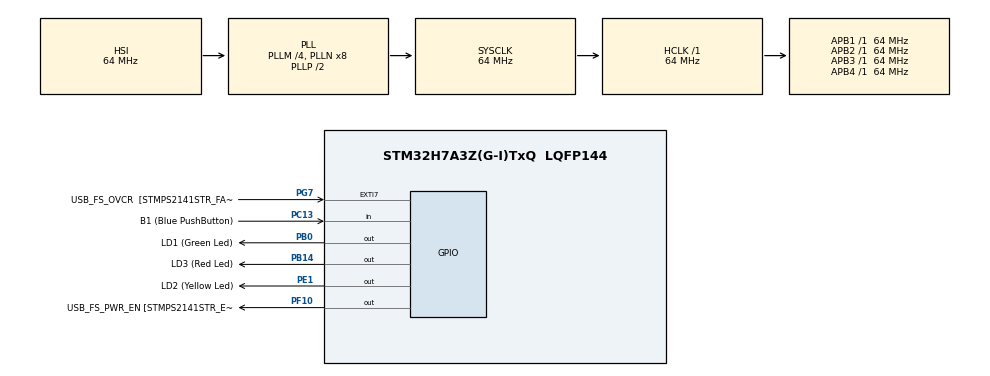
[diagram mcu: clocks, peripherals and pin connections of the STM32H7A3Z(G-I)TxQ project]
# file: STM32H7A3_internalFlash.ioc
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Mcu.Family=STM32H7
Mcu.Name=STM32H7A3Z(G-I)TxQ
Mcu.Package=LQFP144
NVIC.PriorityGroup=NVIC_PRIORITYGROUP_4
PA10.GPIO_Label=USB_FS_ID [ZX62RD-AB-5P8_ID]
PA10.Signal=USB_OTG_HS_ID
PA11.GPIO_Label=USB_FS_N [USBLC6-2SC6_IO_1]
PA11.Signal=USB_OTG_HS_DM
PA12.GPIO_Label=USB_FS_P [USBLC6-2SC6_IO_2]
PA12.Signal=USB_OTG_HS_DP
PA9.GPIO_Label=USB_FS_VBUS  [ZX62RD-AB-5P8_VBUS]
PA9.Signal=USB_OTG_HS_VBUS
PB0.GPIO_Label=LD1 (Green Led)
PB0.Signal=GPIO_Output
PB14.GPIO_Label=LD3 (Red Led)
PB14.Signal=GPIO_Output
PC13.GPIO_Label=B1 (Blue PushButton)
PC13.Signal=GPIO_Input
PC14-OSC32_IN.GPIO_Label=OSC32_IN
PC14-OSC32_IN.Signal=RCC_OSC32_IN
PC15-OSC32_OUT.GPIO_Label=OSC32_OUT
PC15-OSC32_OUT.Signal=RCC_OSC32_OUT
PD8.GPIO_Label=STLINK_RX
PD8.Signal=USART3_TX
PD9.GPIO_Label=STLINK_TX
PD9.Signal=USART3_RX
PE1.GPIO_Label=LD2 (Yellow Led)
PE1.Signal=GPIO_Output
PF10.GPIO_Label=USB_FS_PWR_EN [STMPS2141STR_EN]
PF10.Signal=GPIO_Output
PG7.GPIO_Label=USB_FS_OVCR  [STMPS2141STR_FAULT]
PG7.Signal=GPXTI7
PH0-OSC_IN.GPIO_Label=PH0-MCU
PH0-OSC_IN.Mode=HSE-External-Oscillator
PH0-OSC_IN.Signal=RCC_OSC_IN
PH1-OSC_OUT.GPIO_Label=PH1-MCU
PH1-OSC_OUT.Mode=HSE-External-Oscillator
PH1-OSC_OUT.Signal=RCC_OSC_OUT
ProjectManager.HeapSize=0x200
ProjectManager.StackSize=0x400
ProjectManager.TargetToolchain=STM32CubeIDE
RCC.ADCFreq_Value=129000000
RCC.APB1Freq_Value=64000000
RCC.APB2Freq_Value=64000000
RCC.APB3Freq_Value=64000000
RCC.APB4Freq_Value=64000000
RCC.CortexFreq_Value=64000000
RCC.DIVM1=4
RCC.DIVM3=1
RCC.DIVN1=8
RCC.DIVN3=24
RCC.DIVQ1=4
RCC.HCLKFreq_Value=64000000
RCC.HSE_VALUE=8000000
RCC.PLLFRACN=0
RCC.PWR_Regulator_Voltage_Scale=PWR_REGULATOR_VOLTAGE_SCALE0
RCC.SYSCLKFreq_VALUE=64000000
RCC.SYSCLKSource=RCC_SYSCLKSOURCE_PLLCLK
RCC.SupplySource=PWR_DIRECT_SMPS_SUPPLY
RCC.USBCLockSelection=RCC_USBCLKSOURCE_HSI48
RCC.USBFreq_Value=48000000
board=NUCLEO-H7A3ZI-Q

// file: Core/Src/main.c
/* USER CODE BEGIN Header */
/**
  ******************************************************************************
  * @file           : main.c
  * @brief          : Main program body
  ******************************************************************************
  * @attention
  *
  * Copyright (c) 2023 STMicroelectronics.
  * All rights reserved.
  *
  * This software is licensed under terms that can be found in the LICENSE file
  * in the root directory of this software component.
  * If no LICENSE file comes with this software, it is provided AS-IS.
  *
  ******************************************************************************
  */
/* USER CODE END Header */
#include "main.h"

/* USER CODE BEGIN Includes */
#include "stm32h7xx_hal_flash.h"
#include "string.h"

/* USER CODE END Includes */

void SystemClock_Config(void);
static void MX_GPIO_Init(void);

/* USER CODE BEGIN 0 */
static uint32_t GetSector(uint32_t Address)
{
	return (Address >> 13 ) & (0x7F);
}

void internalFlashReadData(uint32_t StartSectorAddress, uint32_t *RxBuf, uint16_t numberofwords)
{
	while (1)
	{

		*RxBuf = *(__IO uint32_t *)StartSectorAddress;
		StartSectorAddress += 4;
		RxBuf++;
		if (!(numberofwords--)) break;
	}
}

uint32_t internalFlashErase(uint32_t StartSectorAddress)
{
	static FLASH_EraseInitTypeDef EraseInitStruct;
	uint32_t SECTORError;

	  /* Unlock the Flash to enable the flash control register access *************/
	  HAL_FLASH_Unlock();

	  /* Erase the user Flash area */

	  /* Get the number of sector to erase from 1st sector */

	  uint32_t Sector = GetSector(StartSectorAddress);

	  /* Fill EraseInit structure*/
	  EraseInitStruct.TypeErase     = FLASH_TYPEERASE_SECTORS;
//	  EraseInitStruct.VoltageRange  = 3;
	  EraseInitStruct.Banks =  1;  //change this instruction if the bank is different
	  EraseInitStruct.Sector        = Sector;
	  EraseInitStruct.NbSectors     = 1;

	  if (HAL_FLASHEx_Erase(&EraseInitStruct, &SECTORError) != HAL_OK)
	  	  {
	  		  return HAL_FLASH_GetError ();
	  	  }

	  /* Lock the Flash to disable the flash control register access (recommended
	     to protect the FLASH memory against possible unwanted operation) *********/
	  HAL_FLASH_Lock();

	  return 0;
}

uint32_t internalFlashstartEndSectorEraseWrite(uint32_t BaseAddress, uint32_t *tempBuffer)
{
	int sofar=0;

	//Erase the start Sector
	internalFlashErase(BaseAddress);

	/* Unlock the Flash to enable the flash control register access *************/
	HAL_FLASH_Unlock();

	//Start sector write
	while (sofar<2048+4)
	  	 {
	  	   if (HAL_FLASH_Program(FLASH_TYPEPROGRAM_FLASHWORD, BaseAddress, tempBuffer) == HAL_OK)
	  	   {
	  	      BaseAddress += 16;
	  	      sofar += 4;
	  	      tempBuffer += 4;
	  	   }
	  	   else
	  	   {
	  	      /* Error occurred while writing data in Flash memory*/
	  	      return HAL_FLASH_GetError ();
	  	   }
	  	 }
	  /* Lock the Flash to disable the flash control register access (recommended
	     to protect the FLASH memory against possible unwanted operation) *********/
	  	 HAL_FLASH_Lock();

	return 0;
}

uint32_t internalFlashWriteData(uint32_t StartSectorAddress, uint32_t *Data,uint32_t dataBufferSize)
{

	 /* Unlock the Flash to enable the flash control register access *************/
	  HAL_FLASH_Unlock();

	  /* Get the sector detail */

	  uint32_t StartSector = GetSector(StartSectorAddress);
	  uint32_t EndSectorAddress = StartSectorAddress + dataBufferSize;
	  uint32_t EndSector = GetSector(EndSectorAddress);
	  uint32_t startSectorBaseAddress =  0x08000000/*It is base address of a bank 1*/ + (StartSector * 0x2000);
	  uint32_t startSectorEndAddress = startSectorBaseAddress + 0x1FFF/*It is size of sector*/;
	  uint32_t nextSectorBaseAddress=startSectorBaseAddress+0x2000; //It is a address of sector next to start sector
	  uint8_t noOfTimes = (EndSector-StartSector)+1; //It is used to count how much sector will be modified
	  uint8_t start=StartSector;//It is used to track the sector in which operation takes place
	  int sofar;
	  uint32_t tempBuffer[2048]={0x00};
	  while(noOfTimes > 0)
	  {
		  if(start==StartSector || start==EndSector)
		  	  {
		  		  if(start==StartSector)
		  		  {
		  			  //read the start sector data to temp buffer
		  			  internalFlashReadData(startSectorBaseAddress, tempBuffer, 2048);

		  			  //update a temp buffer
		  			  memcpy(&tempBuffer[(StartSectorAddress-startSectorBaseAddress)/4], Data, ((startSectorEndAddress-StartSectorAddress) > dataBufferSize) ? dataBufferSize : (startSectorEndAddress-StartSectorAddress));

		  			  //erase and write
		  			  internalFlashstartEndSectorEraseWrite(startSectorBaseAddress, tempBuffer);
		  		  }
		  		  else
		  		  {
		  			  uint32_t endSectorBaseAddress =  0x08000000/*It is base address of a bank 1*/ + (EndSector * 0x2000);

		  			  //read the end sector data to temp buffer
		  			  internalFlashReadData(endSectorBaseAddress, tempBuffer, 2048);

		  			  endSectorBaseAddress =  0x08000000/*It is base address of a bank 1*/ + (EndSector * 0x2000);

		  			  //update a temp buffer
		  			  memcpy(tempBuffer, Data + ((endSectorBaseAddress-StartSectorAddress)/4), (EndSectorAddress-endSectorBaseAddress));

		  			  //erase and write
		  			  internalFlashstartEndSectorEraseWrite(endSectorBaseAddress, tempBuffer);
		  		  }
		  		noOfTimes--;
		  		start++;
		  	  }
		  	  else
		  	  {
		  		sofar=0;
		  		//erase the sector
		  		internalFlashErase(nextSectorBaseAddress);

		  		Data += (startSectorEndAddress-StartSectorAddress)/4;

		  		/* Unlock the Flash to enable the flash control register access *************/
		  		HAL_FLASH_Unlock();

		  		//write a sector
		  		while (sofar<(((EndSector-StartSector)-1)*2048)+4)
		  			  	 {
		  			  	   if (HAL_FLASH_Program(FLASH_TYPEPROGRAM_FLASHWORD, nextSectorBaseAddress, Data) == HAL_OK)
		  			  	   {
		  			  		  nextSectorBaseAddress += 16;
		  			  	      sofar += 4;
		  			  	      Data += 4;
		  			  	   }
		  			  	   else
		  			  	   {
		  			  	      /* Error occurred while writing data in Flash memory*/
		  			  	      return HAL_FLASH_GetError ();
		  			  	   }
		  			  	 }
				  /* Lock the Flash to disable the flash control register access (recommended
				     to protect the FLASH memory against possible unwanted operation) *********/
				  	 HAL_FLASH_Lock();

		  		noOfTimes -=((EndSector-StartSector)-1);
		  		start +=((EndSector-StartSector)-1);
		  		}
	  }

	  /* Lock the Flash to disable the flash control register access (recommended
	     to protect the FLASH memory against possible unwanted operation) *********/
	  HAL_FLASH_Lock();

	   return 0;
}

/* USER CODE END 0 */

int main(void)
{

  /* MCU Configuration--------------------------------------------------------*/

  /* Reset of all peripherals, Initializes the Flash interface and the Systick. */
  HAL_Init();

  /* Configure the system clock */
  SystemClock_Config();

  /* Initialize all configured peripherals */
  MX_GPIO_Init();
  /* USER CODE BEGIN 2 */

  const int arraySizeBytes = 8 * 1024;
  uint8_t myArray[8 * 1024];

  // Initialize the array with consecutive values
  for (int i = 0; i < arraySizeBytes; i++) {
      myArray[i] = (i % 256) + 1;
  }

  uint8_t Rx_Data[512];

  /*
   internalFlashWriteData() function takes 3 parameters:
   para1- Address to be passed of flash memory where you want to write/update the data
   para2- Buffer address to be passed which is to be written on a flash memory
   para3- size of buffer passed in para2
   */
  internalFlashWriteData(0x8020010 , (uint32_t *)myArray,8192);
  /*
     internalFlashReadData() function takes 3 parameters:
     para1- Address to be passed of flash memory where you want to read the data
     para2- Buffer address to be passed which is to be read data from a flash memory and stores it on a passed buffer
     para3- no of words to be read
     */
  internalFlashReadData(0x80FE000 , (uint32_t *)Rx_Data, 128);
  /* USER CODE END 2 */

  /* Infinite loop */
  while (1)
  {

  }
}

void SystemClock_Config(void)
{
  RCC_OscInitTypeDef RCC_OscInitStruct = {0};
  RCC_ClkInitTypeDef RCC_ClkInitStruct = {0};

  /*AXI clock gating */
  RCC->CKGAENR = 0xFFFFFFFF;

  /** Supply configuration update enable
  */
  HAL_PWREx_ConfigSupply(PWR_DIRECT_SMPS_SUPPLY);

  /** Configure the main internal regulator output voltage
  */
  __HAL_PWR_VOLTAGESCALING_CONFIG(PWR_REGULATOR_VOLTAGE_SCALE0);

  while(!__HAL_PWR_GET_FLAG(PWR_FLAG_VOSRDY)) {}

  /** Initializes the RCC Oscillators according to the specified parameters
  * in the RCC_OscInitTypeDef structure.
  */
  RCC_OscInitStruct.OscillatorType = RCC_OSCILLATORTYPE_HSI;
  RCC_OscInitStruct.HSIState = RCC_HSI_DIV1;
  RCC_OscInitStruct.HSICalibrationValue = 64;
  RCC_OscInitStruct.PLL.PLLState = RCC_PLL_ON;
  RCC_OscInitStruct.PLL.PLLSource = RCC_PLLSOURCE_HSI;
  RCC_OscInitStruct.PLL.PLLM = 4;
  RCC_OscInitStruct.PLL.PLLN = 8;
  RCC_OscInitStruct.PLL.PLLP = 2;
  RCC_OscInitStruct.PLL.PLLQ = 4;
  RCC_OscInitStruct.PLL.PLLR = 2;
  RCC_OscInitStruct.PLL.PLLRGE = RCC_PLL1VCIRANGE_3;
  RCC_OscInitStruct.PLL.PLLVCOSEL = RCC_PLL1VCOWIDE;
  RCC_OscInitStruct.PLL.PLLFRACN = 0;
  if (HAL_RCC_OscConfig(&RCC_OscInitStruct) != HAL_OK)
  {
    Error_Handler();
  }

  /** Initializes the CPU, AHB and APB buses clocks
  */
  RCC_ClkInitStruct.ClockType = RCC_CLOCKTYPE_HCLK|RCC_CLOCKTYPE_SYSCLK
                              |RCC_CLOCKTYPE_PCLK1|RCC_CLOCKTYPE_PCLK2
                              |RCC_CLOCKTYPE_D3PCLK1|RCC_CLOCKTYPE_D1PCLK1;
  RCC_ClkInitStruct.SYSCLKSource = RCC_SYSCLKSOURCE_PLLCLK;
  RCC_ClkInitStruct.SYSCLKDivider = RCC_SYSCLK_DIV1;
  RCC_ClkInitStruct.AHBCLKDivider = RCC_HCLK_DIV1;
  RCC_ClkInitStruct.APB3CLKDivider = RCC_APB3_DIV1;
  RCC_ClkInitStruct.APB1CLKDivider = RCC_APB1_DIV1;
  RCC_ClkInitStruct.APB2CLKDivider = RCC_APB2_DIV1;
  RCC_ClkInitStruct.APB4CLKDivider = RCC_APB4_DIV1;

  if (HAL_RCC_ClockConfig(&RCC_ClkInitStruct, FLASH_LATENCY_1) != HAL_OK)
  {
    Error_Handler();
  }
}

static void MX_GPIO_Init(void)
{
  GPIO_InitTypeDef GPIO_InitStruct = {0};

  /* GPIO Ports Clock Enable */
  __HAL_RCC_GPIOC_CLK_ENABLE();
  __HAL_RCC_GPIOF_CLK_ENABLE();
  __HAL_RCC_GPIOH_CLK_ENABLE();
  __HAL_RCC_GPIOB_CLK_ENABLE();
  __HAL_RCC_GPIOD_CLK_ENABLE();
  __HAL_RCC_GPIOG_CLK_ENABLE();
  __HAL_RCC_GPIOA_CLK_ENABLE();
  __HAL_RCC_GPIOE_CLK_ENABLE();

  /*Configure GPIO pin Output Level */
  HAL_GPIO_WritePin(USB_FS_PWR_EN_GPIO_Port, USB_FS_PWR_EN_Pin, GPIO_PIN_RESET);

  /*Configure GPIO pin Output Level */
  HAL_GPIO_WritePin(GPIOB, LD1_Pin|LD3_Pin, GPIO_PIN_RESET);

  /*Configure GPIO pin Output Level */
  HAL_GPIO_WritePin(LD2_GPIO_Port, LD2_Pin, GPIO_PIN_RESET);

  /*Configure GPIO pin : B1_Pin */
  GPIO_InitStruct.Pin = B1_Pin;
  GPIO_InitStruct.Mode = GPIO_MODE_INPUT;
  GPIO_InitStruct.Pull = GPIO_NOPULL;
  HAL_GPIO_Init(B1_GPIO_Port, &GPIO_InitStruct);

  /*Configure GPIO pin : USB_FS_PWR_EN_Pin */
  GPIO_InitStruct.Pin = USB_FS_PWR_EN_Pin;
  GPIO_InitStruct.Mode = GPIO_MODE_OUTPUT_PP;
  GPIO_InitStruct.Pull = GPIO_NOPULL;
  GPIO_InitStruct.Speed = GPIO_SPEED_FREQ_LOW;
  HAL_GPIO_Init(USB_FS_PWR_EN_GPIO_Port, &GPIO_InitStruct);

  /*Configure GPIO pins : LD1_Pin LD3_Pin */
  GPIO_InitStruct.Pin = LD1_Pin|LD3_Pin;
  GPIO_InitStruct.Mode = GPIO_MODE_OUTPUT_PP;
  GPIO_InitStruct.Pull = GPIO_NOPULL;
  GPIO_InitStruct.Speed = GPIO_SPEED_FREQ_LOW;
  HAL_GPIO_Init(GPIOB, &GPIO_InitStruct);

  /*Configure GPIO pins : STLINK_RX_Pin STLINK_TX_Pin */
  GPIO_InitStruct.Pin = STLINK_RX_Pin|STLINK_TX_Pin;
  GPIO_InitStruct.Mode = GPIO_MODE_AF_PP;
  GPIO_InitStruct.Pull = GPIO_NOPULL;
  GPIO_InitStruct.Speed = GPIO_SPEED_FREQ_LOW;
  GPIO_InitStruct.Alternate = GPIO_AF7_USART3;
  HAL_GPIO_Init(GPIOD, &GPIO_InitStruct);

  /*Configure GPIO pin : USB_FS_OVCR_Pin */
  GPIO_InitStruct.Pin = USB_FS_OVCR_Pin;
  GPIO_InitStruct.Mode = GPIO_MODE_IT_RISING;
  GPIO_InitStruct.Pull = GPIO_NOPULL;
  HAL_GPIO_Init(USB_FS_OVCR_GPIO_Port, &GPIO_InitStruct);

  /*Configure GPIO pin : USB_FS_ID_Pin */
  GPIO_InitStruct.Pin = USB_FS_ID_Pin;
  GPIO_InitStruct.Mode = GPIO_MODE_AF_PP;
  GPIO_InitStruct.Pull = GPIO_NOPULL;
  GPIO_InitStruct.Speed = GPIO_SPEED_FREQ_LOW;
  GPIO_InitStruct.Alternate = GPIO_AF10_OTG1_HS;
  HAL_GPIO_Init(USB_FS_ID_GPIO_Port, &GPIO_InitStruct);

  /*Configure GPIO pins : USB_FS_N_Pin USB_FS_P_Pin */
  GPIO_InitStruct.Pin = USB_FS_N_Pin|USB_FS_P_Pin;
  GPIO_InitStruct.Mode = GPIO_MODE_AF_PP;
  GPIO_InitStruct.Pull = GPIO_NOPULL;
  GPIO_InitStruct.Speed = GPIO_SPEED_FREQ_LOW;
  HAL_GPIO_Init(GPIOA, &GPIO_InitStruct);

  /*Configure GPIO pin : LD2_Pin */
  GPIO_InitStruct.Pin = LD2_Pin;
  GPIO_InitStruct.Mode = GPIO_MODE_OUTPUT_PP;
  GPIO_InitStruct.Pull = GPIO_NOPULL;
  GPIO_InitStruct.Speed = GPIO_SPEED_FREQ_LOW;
  HAL_GPIO_Init(LD2_GPIO_Port, &GPIO_InitStruct);

}

void Error_Handler(void)
{
  __disable_irq();
  while (1)
  {
  }
}
